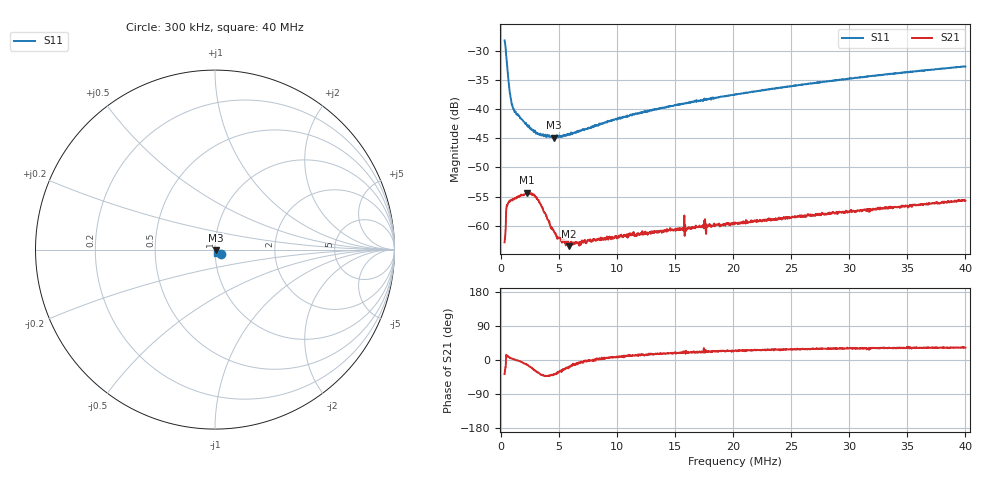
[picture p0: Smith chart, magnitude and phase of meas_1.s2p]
# HZ S RI R 50
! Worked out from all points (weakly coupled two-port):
!   1206 points, 300 kHz to 40 MHz, reference 50 ohm
!   highest |S21| = -54.32 dB at 2.211 MHz (marker M1); lowest = -63.5 dB at 5.868 MHz (marker M2)
!   lowest |S11| = -44.9 dB at 4.55 MHz (marker M3), VSWR 1.01, Z = 50.5 - j0.3 ohm
!   |S11| at or under -10 dB: start of sweep to end of sweep
!   S12 and S22 are empty: the file has one direction only
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300000  0.0309 -0.0231  0.000578 -0.000437  0 0  0 0
431784  0.0186 -0.0223  0.00131 0.000322  0 0  0 0
629460  0.00799 -0.0157  0.00156 0.000259  0 0  0 0
827136  0.0062 -0.0106  0.00166 0.000168  0 0  0 0
991866  0.00606 -0.00847  0.0017 8.76e-05  0 0  0 0
1222488  0.0065 -0.00698  0.00174 3.04e-05  0 0  0 0
2210868  0.00538 -0.0049  0.00188 -0.000393  0 0  0 0
2672112  0.00503 -0.00431  0.00177 -0.000682  0 0  0 0
3034518  0.00497 -0.00388  0.00153 -0.000893  0 0  0 0
4550034  0.00484 -0.00297  0.000695 -0.000561  0 0  0 0
5044224  0.00515 -0.00281  0.00067 -0.000402  0 0  0 0
5867874  0.00542 -0.0026  0.000641 -0.000198  0 0  0 0
6922146  0.00599 -0.00277  0.000721 -6.12e-05  0 0  0 0
1.354429e7  0.0077 -0.00637  0.00085 0.000249  0 0  0 0
1.558694e7  0.00797 -0.00765  0.000867 0.000324  0 0  0 0
1.601524e7  0.00805 -0.00787  0.000872 0.000341  0 0  0 0
1.739897e7  0.00804 -0.00847  0.000963 0.000343  0 0  0 0
1.782727e7  0.00819 -0.00901  0.000906 0.000398  0 0  0 0
2.016644e7  0.00834 -0.0105  0.000975 0.000443  0 0  0 0
2.678858e7  0.00849 -0.0142  0.00107 0.000612  0 0  0 0
3.341073e7  0.0088 -0.018  0.00121 0.000748  0 0  0 0
3.999993e7  0.00896 -0.0213  0.00138 0.000893  0 0  0 0
